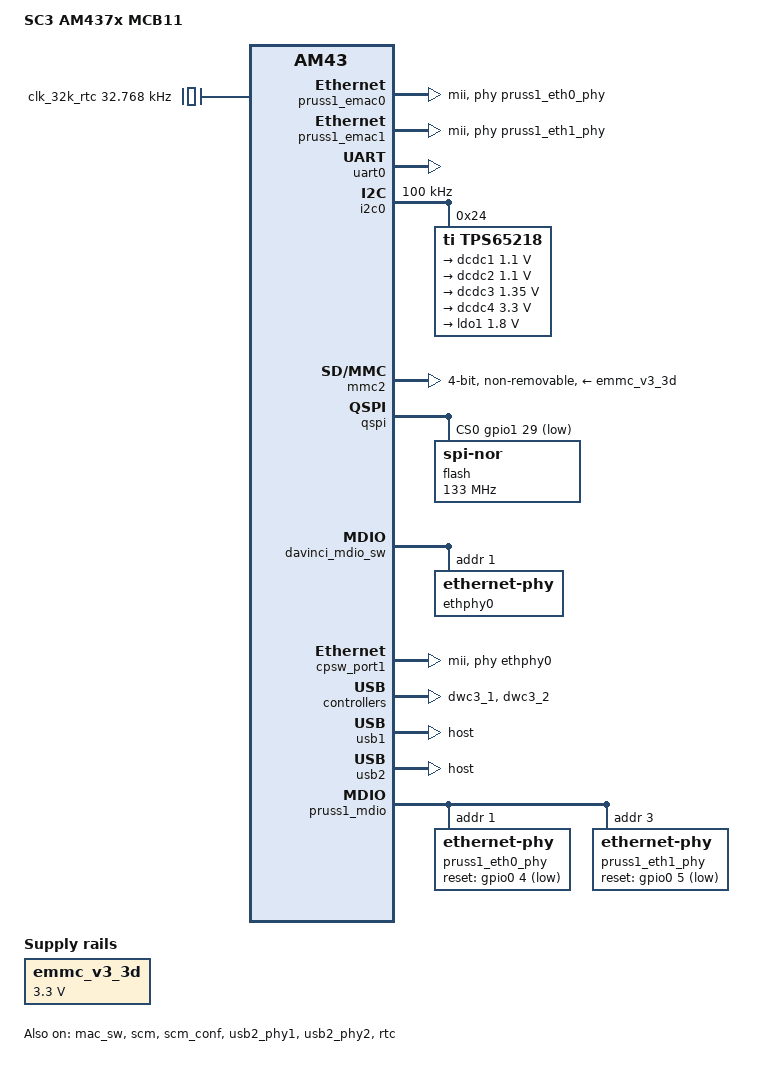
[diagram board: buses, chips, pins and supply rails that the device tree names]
// SPDX-License-Identifier: GPL-2.0-only
/*
 * Copyright (C) 2013 Texas Instruments Incorporated - https://www.ti.com/
 */

/* SC3 AM437x MCB11 */

/dts-v1/;

#include "am4372.dtsi"
#include <dt-bindings/pinctrl/am43xx.h>
#include <dt-bindings/pwm/pwm.h>
#include <dt-bindings/gpio/gpio.h>

/ {
	model = "SC3 AM437x MCB11";
	compatible = "ti,am437x-gp-evm","ti,am4372","ti,am43";

	chosen {
		stdout-path = &uart0;
		tick-timer = &timer2;
	};

	aliases {
		ethernet2 = &pruss1_emac0;
		ethernet3 = &pruss1_emac1;
	};

	/* fixed 32k external oscillator clock */
	clk_32k_rtc: clk_32k_rtc {
		#clock-cells = <0>;
		compatible = "fixed-clock";
		clock-frequency = <32768>;
	};

	/* Dual-MAC Ethernet application node on PRU-ICSS1 */
	pruss1-eth {
		compatible = "ti,am4376-prueth";
		ti,prus = <&pru1_0>, <&pru1_1>;
		sram = <&ocmcram>;
		interrupt-parent = <&pruss1_intc>;
		mii-rt = <&pruss1_mii_rt>;
		iep = <&pruss1_iep>;

		pinctrl-0 = <&mii_pruss1_0_pins_default>, <&mii_pruss1_1_pins_default>;
		pinctrl-names = "default";
		interrupts = <20 2 2>, <21 3 3>;
		interrupt-names = "rx_lre_hp", "rx_lre_lp";

		pruss1_emac0: ethernet-mii0 {
			phy-handle = <&pruss1_eth0_phy>;
			phy-mode = "mii";
			interrupts = <20 2 2>;
			interrupt-names = "rx";
			ti,no-half-duplex;
			/* Filled in by bootloader */
			local-mac-address = [00 00 00 00 00 00];
		};

		pruss1_emac1: ethernet-mii1 {
			phy-handle = <&pruss1_eth1_phy>;
			phy-mode = "mii";
			interrupts = <21 3 3>;
			interrupt-names = "rx";
			ti,no-half-duplex;
			/* Filled in by bootloader */
			local-mac-address = [00 00 00 00 00 00];
		};
	};

	emmc_v3_3d: fixedregulator-v3_3d {
		compatible = "regulator-fixed";
		regulator-name = "emmc_v3_3d";
		regulator-min-microvolt = <3300000>;
		regulator-max-microvolt = <3300000>;
		enable-active-high;
	};
};

&am43xx_pinmux {

	gpio0_pins_default: gpio0-default-pins {
		pinctrl-single,pins = <
			AM4372_IOPAD(0x954, PIN_INPUT | MUX_MODE7) /* (T22) spi0_d0.gpio0[3] */
			AM4372_IOPAD(0x958, PIN_INPUT | MUX_MODE7) /* (T21) spi0_d1.gpio0[4] */
			AM4372_IOPAD(0x95c, PIN_INPUT | MUX_MODE7) /* (T20) spi0_cs0.gpio0[5] */
			AM4372_IOPAD(0x964, PIN_INPUT | MUX_MODE7) /* (G24) eCAP0_in_PWM0_out.gpio0[7] */
			AM4372_IOPAD(0x978, PIN_INPUT | MUX_MODE7) /* (K22) uart1_ctsn.gpio0[12] */
			AM4372_IOPAD(0x97c, PIN_INPUT | MUX_MODE7) /* (L22) uart1_rtsn.gpio0[13] */
			AM4372_IOPAD(0x980, PIN_INPUT | MUX_MODE7) /* (K21) uart1_rxd.gpio0[14] */
			AM4372_IOPAD(0x984, PIN_INPUT | MUX_MODE7) /* (L21) uart1_txd.gpio0[15] */
			AM4372_IOPAD(0x870, PIN_INPUT | MUX_MODE7) /* (A2) gpmc_wait0.gpio0[30] */
		>;
	};
	i2c_0_pins_default: i2c_0-default-pins {
		pinctrl-single,pins = <
			AM4372_IOPAD(0x98c, PIN_INPUT | MUX_MODE0) /* (Y22) I2C0_SCL.I2C0_SCL */
			AM4372_IOPAD(0x988, PIN_INPUT | MUX_MODE0) /* (AB24) I2C0_SDA.I2C0_SDA */
		>;
	};
	mdio_2_pins_default: mdio_2-default-pins {
		pinctrl-single,pins = <
			AM4372_IOPAD(0x94c, PIN_OUTPUT | MUX_MODE0) /* (B17) mdio_clk.mdio_clk */
			AM4372_IOPAD(0x948, PIN_INPUT | MUX_MODE0) /* (A17) mdio_data.mdio_data */
		>;
	};
	mdio_pruss1_1_pins_default: mdio_pruss1_1-default-pins {
		pinctrl-single,pins = <
			AM4372_IOPAD(0x88c, PIN_OUTPUT | MUX_MODE5) /* (A12) gpmc_clk.pr1_mdio_mdclk */
			AM4372_IOPAD(0xa70, PIN_INPUT | MUX_MODE8) /* (D24) xdma_event_intr0.pr1_mdio_data */
		>;
	};
	mii_1_pins_default: mii_1-default-pins {
		pinctrl-single,pins = <
			AM4372_IOPAD(0x908, PIN_INPUT | MUX_MODE0) /* (D16) mii1_col.gmii1_col */
			AM4372_IOPAD(0x90c, PIN_INPUT | MUX_MODE0) /* (B14) mii1_crs.gmii1_crs */
			AM4372_IOPAD(0x910, PIN_INPUT | MUX_MODE0) /* (B13) mii1_rx_er.gmii1_rxer */
			AM4372_IOPAD(0x914, PIN_OUTPUT | MUX_MODE0) /* (A13) mii1_tx_en.gmii1_txen */
			AM4372_IOPAD(0x918, PIN_INPUT | MUX_MODE0) /* (A15) mii1_rx_dv.gmii1_rxdv */
			AM4372_IOPAD(0x92c, PIN_INPUT | MUX_MODE0) /* (D14) mii1_tx_clk.gmii1_txclk */
			AM4372_IOPAD(0x930, PIN_INPUT | MUX_MODE0) /* (D13) mii1_rx_clk.gmii1_rxclk */
			AM4372_IOPAD(0x928, PIN_OUTPUT | MUX_MODE0) /* (B15) mii1_txd0.gmii1_txd0 */
			AM4372_IOPAD(0x924, PIN_OUTPUT | MUX_MODE0) /* (A14) mii1_txd1.gmii1_txd1 */
			AM4372_IOPAD(0x920, PIN_OUTPUT | MUX_MODE0) /* (C13) mii1_txd2.gmii1_txd2 */
			AM4372_IOPAD(0x91c, PIN_OUTPUT | MUX_MODE0) /* (C16) mii1_txd3.gmii1_txd3 */
			AM4372_IOPAD(0x940, PIN_INPUT | MUX_MODE0) /* (F17) mii1_rxd0.gmii1_rxd0 */
			AM4372_IOPAD(0x93c, PIN_INPUT | MUX_MODE0) /* (B16) mii1_rxd1.gmii1_rxd1 */
			AM4372_IOPAD(0x938, PIN_INPUT | MUX_MODE0) /* (E16) mii1_rxd2.gmii1_rxd2 */
			AM4372_IOPAD(0x934, PIN_INPUT | MUX_MODE0) /* (C14) mii1_rxd3.gmii1_rxd3 */
		>;
	};
	mii_pruss1_1_pins_default: mii_pruss1_1-default-pins {
		pinctrl-single,pins = <
			AM4372_IOPAD(0x858, PIN_INPUT | MUX_MODE5) /* (E8) gpmc_a6.pr1_mii_mt1_clk */
			AM4372_IOPAD(0x854, PIN_OUTPUT | MUX_MODE5) /* (E7) gpmc_a5.pr1_mii1_txd0 */
			AM4372_IOPAD(0x850, PIN_OUTPUT | MUX_MODE5) /* (D7) gpmc_a4.pr1_mii1_txd1 */
			AM4372_IOPAD(0x84c, PIN_OUTPUT | MUX_MODE5) /* (A4) gpmc_a3.pr1_mii1_txd2 */
			AM4372_IOPAD(0x848, PIN_OUTPUT | MUX_MODE5) /* (C6) gpmc_a2.pr1_mii1_txd3 */
			AM4372_IOPAD(0x86c, PIN_INPUT | MUX_MODE5) /* (D8) gpmc_a11.pr1_mii1_rxd0 */
			AM4372_IOPAD(0x868, PIN_INPUT | MUX_MODE5) /* (G8) gpmc_a10.pr1_mii1_rxd1 */
			AM4372_IOPAD(0x864, PIN_INPUT | MUX_MODE5) /* (B4) gpmc_a9.pr1_mii1_rxd2 */
			AM4372_IOPAD(0x860, PIN_INPUT | MUX_MODE5) /* (F7) gpmc_a8.pr1_mii1_rxd3 */
			AM4372_IOPAD(0x840, PIN_OUTPUT | MUX_MODE5) /* (C3) gpmc_a0.pr1_mii1_txen */
			AM4372_IOPAD(0x85c, PIN_INPUT | MUX_MODE5) /* (F6) gpmc_a7.pr1_mii_mr1_clk */
			AM4372_IOPAD(0x844, PIN_INPUT | MUX_MODE5) /* (C5) gpmc_a1.pr1_mii1_rxdv */
			AM4372_IOPAD(0x874, PIN_INPUT | MUX_MODE5) /* (B3) gpmc_wpn.pr1_mii1_rxer */
			AM4372_IOPAD(0xa4c, PIN_INPUT | MUX_MODE5) /* (E24) gpio5_13.pr1_mii1_rxlink */
			AM4372_IOPAD(0xa44, PIN_INPUT | MUX_MODE5) /* (F23) gpio5_11.pr1_mii1_crs */
			AM4372_IOPAD(0x878, PIN_INPUT | MUX_MODE5) /* (A3) gpmc_be1n.pr1_mii1_col */
		>;
	};
	mii_pruss1_0_pins_default: mii_pruss1_0-default-pins {
		pinctrl-single,pins = <
			AM4372_IOPAD(0x8a0, PIN_INPUT | MUX_MODE2) /* (B22) dss_data0.pr1_mii_mt0_clk */
			AM4372_IOPAD(0x8b4, PIN_OUTPUT | MUX_MODE2) /* (B20) dss_data5.pr1_mii0_txd0 */
			AM4372_IOPAD(0x8b0, PIN_OUTPUT | MUX_MODE2) /* (A20) dss_data4.pr1_mii0_txd1 */
			AM4372_IOPAD(0x8ac, PIN_OUTPUT | MUX_MODE2) /* (C21) dss_data3.pr1_mii0_txd2 */
			AM4372_IOPAD(0x8a8, PIN_OUTPUT | MUX_MODE2) /* (B21) dss_data2.pr1_mii0_txd3 */
			AM4372_IOPAD(0x8cc, PIN_INPUT | MUX_MODE5) /* (B18) dss_data11.pr1_mii0_rxd0 */
			AM4372_IOPAD(0x8c8, PIN_INPUT | MUX_MODE5) /* (A18) dss_data10.pr1_mii0_rxd1 */
			AM4372_IOPAD(0x8c4, PIN_INPUT | MUX_MODE5) /* (B19) dss_data9.pr1_mii0_rxd2 */
			AM4372_IOPAD(0x8c0, PIN_INPUT | MUX_MODE5) /* (A19) dss_data8.pr1_mii0_rxd3 */
			AM4372_IOPAD(0x8a4, PIN_OUTPUT | MUX_MODE2) /* (A21) dss_data1.pr1_mii0_txen */
			AM4372_IOPAD(0x8d8, PIN_INPUT | MUX_MODE5) /* (C17) dss_data14.pr1_mii_mr0_clk */
			AM4372_IOPAD(0x8dc, PIN_INPUT | MUX_MODE5) /* (D17) dss_data15.pr1_mii0_rxdv */
			AM4372_IOPAD(0x8d4, PIN_INPUT | MUX_MODE5) /* (D19) dss_data13.pr1_mii0_rxer */
			AM4372_IOPAD(0x8d0, PIN_INPUT | MUX_MODE5) /* (C19) dss_data12.pr1_mii0_rxlink */
			AM4372_IOPAD(0xa40, PIN_INPUT | MUX_MODE5) /* (G20) gpio5_10.pr1_mii0_crs */
			AM4372_IOPAD(0xa38, PIN_INPUT | MUX_MODE5) /* (D25) gpio5_8.pr1_mii0_col */
		>;
	};
	emmc_pins_default: emmc-default-pins {
		pinctrl-single,pins = <
			AM4372_IOPAD(0x880, PIN_INPUT_PULLUP | MUX_MODE2) /* (B9) gpmc_csn1.mmc1_clk */
			AM4372_IOPAD(0x884, PIN_INPUT_PULLUP | MUX_MODE2) /* (F10) gpmc_csn2.mmc1_cmd */
			AM4372_IOPAD(0x820, PIN_INPUT_PULLUP | MUX_MODE2) /* (B10) gpmc_ad8.mmc1_dat0 */
			AM4372_IOPAD(0x824, PIN_INPUT_PULLUP | MUX_MODE2) /* (A10) gpmc_ad9.mmc1_dat1 */
			AM4372_IOPAD(0x828, PIN_INPUT_PULLUP | MUX_MODE2) /* (F11) gpmc_ad10.mmc1_dat2 */
			AM4372_IOPAD(0x82c, PIN_INPUT_PULLUP | MUX_MODE2) /* (D11) gpmc_ad11.mmc1_dat3 */
			AM4372_IOPAD(0x830, PIN_INPUT_PULLUP | MUX_MODE2) /* (E11) gpmc_ad12.mmc1_dat4 */
			AM4372_IOPAD(0x834, PIN_INPUT_PULLUP | MUX_MODE2) /* (C11) gpmc_ad13.mmc1_dat5 */
			AM4372_IOPAD(0x838, PIN_INPUT_PULLUP | MUX_MODE2) /* (B11) gpmc_ad14.mmc1_dat6 */
			AM4372_IOPAD(0x83c, PIN_INPUT_PULLUP | MUX_MODE2) /* (A11) gpmc_ad15.mmc1_dat7 */
		>;
	};
	osc_1_pins_default: osc_1-default-pins {
		pinctrl-single,pins = <
			AM4372_IOPAD(0xaac, PIN_INPUT | MUX_MODE0) /* (AE5) RTC_XTALIN.OSC1_IN */
			AM4372_IOPAD(0xab0, PIN_OUTPUT | MUX_MODE0) /* (AE4) RTC_XTALOUT.OSC1_OUT */
		>;
	};
	osc_2_pins_default: osc_2-default-pins {
		pinctrl-single,pins = <
			AM4372_IOPAD(0xa88, PIN_INPUT | MUX_MODE0) /* (C25) XTALIN.OSC0_IN */
			AM4372_IOPAD(0xa8c, PIN_OUTPUT | MUX_MODE0) /* (B25) XTALOUT.OSC0_OUT */
		>;
	};
	qspi_1_pins_default: qspi_1-default-pins {
		pinctrl-single,pins = <
			AM4372_IOPAD(0x888, PIN_OUTPUT | MUX_MODE2) /* (B12) gpmc_csn3.qspi_clk */
			AM4372_IOPAD(0x87c, PIN_OUTPUT | MUX_MODE3) /* (A8) gpmc_csn0.qspi_csn */
			AM4372_IOPAD(0x890, PIN_INPUT_PULLUP | MUX_MODE3) /* (A9) gpmc_advn_ale.qspi_d0 */
			AM4372_IOPAD(0x894, PIN_INPUT_PULLUP | MUX_MODE3) /* (E10) gpmc_oen_ren.qspi_d1 */
			AM4372_IOPAD(0x898, PIN_INPUT_PULLUP | MUX_MODE3) /* (D10) gpmc_wen.qspi_d2 */
			AM4372_IOPAD(0x89c, PIN_INPUT_PULLUP | MUX_MODE3) /* (C10) gpmc_be0n_cle.qspi_d3 */
		>;
	};
	rtc_1_pins_default: rtc_1-default-pins {
		pinctrl-single,pins = <
			AM4372_IOPAD(0xab4, PIN_INPUT | MUX_MODE0) /* (AE6) RTC_PWRONRSTn.RTC_PORz */
			AM4372_IOPAD(0xab8, PIN_OUTPUT | MUX_MODE0) /* (AE3) RTC_WAKEUP.RTC_WAKEUP */
			AM4372_IOPAD(0xabc, PIN_INPUT | MUX_MODE0) /* (AD6) RTC_PMIC_EN.RTC_PMIC_EN */
		>;
	};
	uart0_pins_default: uart0-default-pins {
		pinctrl-single,pins = <
			AM4372_IOPAD(0x970, PIN_INPUT | MUX_MODE0) /* (K25) uart0_rxd.uart0_rxd */
			AM4372_IOPAD(0x974, PIN_OUTPUT | MUX_MODE0) /* (J24) uart0_txd.uart0_txd */
		>;
	};
};

&uart0 {
	
	status = "okay";
	pinctrl-names = "default";
	pinctrl-0 = <&uart0_pins_default>;
};

&i2c0 {
	
	status = "okay";
	pinctrl-names = "default";
	pinctrl-0 = <&i2c_0_pins_default>;
	clock-frequency = <100000>;

	tps65218: tps65218@24 {
		reg = <0x24>;
		compatible = "ti,tps65218";
		interrupts = <GIC_SPI 7 IRQ_TYPE_LEVEL_HIGH>; /* NMIn */
		interrupt-controller;
		#interrupt-cells = <2>;

		dcdc1: regulator-dcdc1 {
			compatible = "ti,tps65218-dcdc1";
			regulator-name = "vdd_core";
			regulator-min-microvolt = <1100000>;
			regulator-max-microvolt = <1100000>;
			regulator-boot-on;
			regulator-always-on;
		};

		dcdc2: regulator-dcdc2 {
			compatible = "ti,tps65218-dcdc2";
			regulator-name = "vdd_mpu";
			regulator-min-microvolt = <1100000>;
			regulator-max-microvolt = <1100000>;
			regulator-boot-on;
			regulator-always-on;
		};

		dcdc3: regulator-dcdc3 {
			compatible = "ti,tps65218-dcdc3";
			regulator-name = "vdd_ddr";
			regulator-min-microvolt = <1350000>;
			regulator-max-microvolt = <1350000>;
			regulator-boot-on;
			regulator-always-on;
		};

		dcdc4: regulator-dcdc4 {
			compatible = "ti,tps65218-dcdc4";
			regulator-name = "3v3_sitara";
			regulator-min-microvolt = <3300000>;
			regulator-max-microvolt = <3300000>;
			regulator-boot-on;
			regulator-always-on;
		};

		ldo1: regulator-ldo1 {
			regulator-min-microvolt = <1800000>;
			regulator-max-microvolt = <1800000>;
			regulator-boot-on;
			regulator-always-on;
		};
	};
};

&gpmc {
	status = "disabled";
};

&gpio0 {
	pinctrl-names = "default";
	pinctrl-0 = <&gpio0_pins_default>;
	status = "okay";
};

&mmc2 {	

	/*
    status = "okay";
    bus-width = <8>;
    max-frequency = <52000000>;
    vmmc-supply = <&emmc_v3_3d>;
	vqmmc-supply = <&emmc_v3_3d>;
	disable-wp;

	
	reset-gpios = <&gpio0 30 GPIO_ACTIVE_LOW>;
	reset-delay = <250>;

	non-removable;
	no-1-8-v;

    pinctrl-names = "default";
    pinctrl-0 = <&emmc_pins_default>;

	*/

	status = "okay";
	vmmc-supply = <&emmc_v3_3d>;
	vqmmc-supply = <&emmc_v3_3d>;
	bus-width = <4>;
	pinctrl-names = "default";
	pinctrl-0 = <&emmc_pins_default>;
	non-removable;
	no-1-8-v;

};

&qspi {
	status = "okay";
	pinctrl-names = "default";
	pinctrl-0 = <&qspi_1_pins_default>;
	cs-gpios = <&gpio1 29 GPIO_ACTIVE_LOW>;
	spi-max-frequency = <133000000>;

	flash@0 {
        compatible = "jedec,spi-nor";
        reg = <0>;
        spi-max-frequency = <133000000>;
        spi-tx-bus-width = <4>;
        spi-rx-bus-width = <4>;
        m25p,fast-read;
        size = <0x800000>;
    };
};

&l4_wkup {
	
	status = "okay";
};

&mac_sw {
	pinctrl-names = "default";
	pinctrl-0 = <&mii_1_pins_default>;
	status = "okay";
};

&davinci_mdio_sw {
	pinctrl-names = "default";
	pinctrl-0 = <&mdio_2_pins_default>;

	ethphy0: ethernet-phy@1 {
		reg = <1>;
	};
};

&cpsw_port1 {
	phy-handle = <&ethphy0>;
	phy-mode = "mii";
	ti,dual-emac-pvid = <1>;
};

&cpsw_port2 {
	status = "disabled";
};

&scm {
	
	status = "okay";
};

&scm_conf {
	
    status = "okay";
};

&ocp2scp0 {
	
	compatible = "ti,am437x-ocp2scp", "ti,omap-ocp2scp", "simple-bus";
	status = "okay";
};

&ocp2scp1 {
	
	compatible = "ti,am437x-ocp2scp", "ti,omap-ocp2scp", "simple-bus";
	status = "okay";
};

&dwc3_1 {
	
	status = "okay";
};

&dwc3_2 {
	
	status = "okay";
};

&usb2_phy1 {
	
	status = "okay";
};

&usb1 {
	
	dr_mode = "host";
	status = "okay";
};

&usb2_phy2 {
	
	status = "okay";
};

&usb2 {
	
	dr_mode = "host";
	status = "okay";
};

&rtc {
	clocks = <&clk_32k_rtc>, <&clk_32768_ck>;
	clock-names = "ext-clk", "int-clk";
	status = "okay";
};

&wdt {
	status = "disabled";
};

&cpu {
	cpu0-supply = <&dcdc2>;
};

&pruss1_mdio {
	pinctrl-0 = <&mdio_pruss1_1_pins_default>;
	pinctrl-names = "default";
	status = "okay";

	pruss1_eth0_phy: ethernet-phy@1 {
		reg = <1>;
		reset-gpios = <&gpio0 4 GPIO_ACTIVE_LOW>;
		reset-delay-us = <2>;
	};

	pruss1_eth1_phy: ethernet-phy@3 {
		reg = <3>;
		reset-gpios = <&gpio0 5 GPIO_ACTIVE_LOW>;
		reset-delay-us = <2>;
	};
};

&pruss1_emac0 {
	status = "okay";
};

&pruss1_emac1 {
	status = "okay";
};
